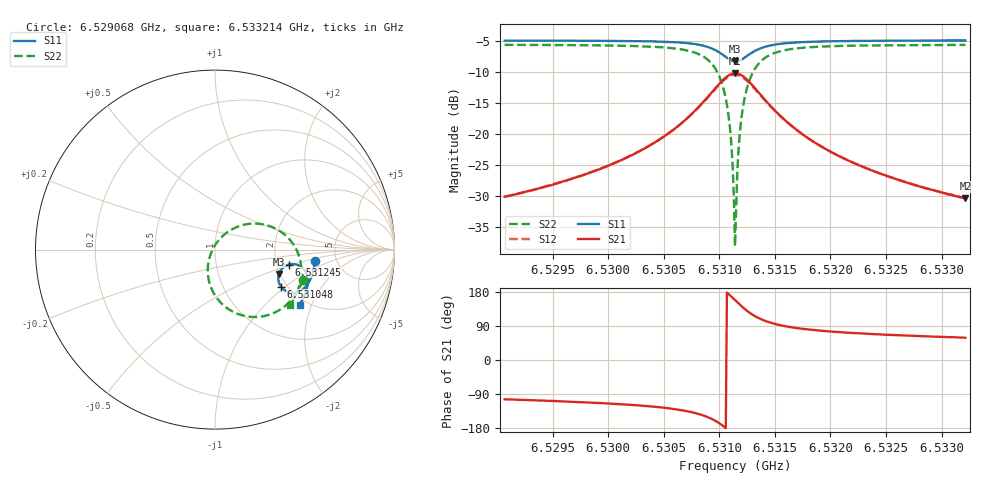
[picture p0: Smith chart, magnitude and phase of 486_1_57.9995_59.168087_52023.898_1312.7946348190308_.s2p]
#  HZ  S  RI  R  50.00
! Rohde & Schwarz Vector Network Analyzer
! Rohde-Schwarz,ZNB20-2Port,1311601062101988,3.16
! Created: UTC 3/21/2024, 1:12:04 AM
! freq[Hz]  re:S11  im:S11  re:S21  im:S21  re:S12  im:S12  re:S22  im:S22
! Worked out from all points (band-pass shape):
!   401 points, 6.529068 GHz to 6.533214 GHz, reference 50 ohm
!   highest |S21| = -10.28 dB at 6.531141 GHz (marker M1); lowest = -30.4 dB at 6.533214 GHz (marker M2)
!   |S21| within 3 dB of the highest: 6.530935 GHz to 6.53135 GHz (414.4 kHz wide, 0.00634 % of centre)
!   lowest |S11| = -8.4 dB at 6.531141 GHz (marker M3), VSWR 2.23, Z = 98.6 - j31.5 ohm
!   |S11| at or under -10 dB: nowhere
!   |S22| runs from -38.1 to -5.7 dB; largest |S21 - S12| = 0.012
!   S11 on the Smith chart (normalised r, x): 6.529068 GHz: 3.42, -0.65; 6.531048 GHz: 1.86, -0.93; 6.531245 GHz: 2.33, -0.47; 6.533214 GHz: 1.82, -1.64
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6.5290676e9  0.5571 -0.0646  -0.00729 -0.0301  -0.00798 -0.03  0.4906 -0.1684
6.5297622e9  0.5464 -0.1223  -0.0168 -0.0429  -0.0178 -0.0425  0.4599 -0.2328
6.5304568e9  0.5176 -0.1908  -0.0504 -0.0735  -0.0525 -0.072  0.3786 -0.3235
6.5306952e9  0.4904 -0.2204  -0.0902 -0.0926  -0.0928 -0.0896  0.2983 -0.3641
6.5308714e9  0.4467 -0.2393  -0.1579 -0.0988  -0.1603 -0.0925  0.1723 -0.3711
6.5309751e9  0.4021 -0.2336  -0.2273 -0.0721  -0.2265 -0.063  0.0546 -0.3163
6.5310477e9  0.3676 -0.2061  -0.278 -0.0139  -0.2725 -0.00405  -0.0226 -0.2096
6.5310891e9  0.3548 -0.1782  -0.2939 0.039  -0.2852 0.0467  -0.0404 -0.1193
6.5311099e9  0.3527 -0.1618  -0.2945 0.069  -0.2846 0.0752  -0.0364 -0.0699
6.5311202e9  0.3528 -0.1533  -0.2925 0.0841  -0.2823 0.0895  -0.0308 -0.045
6.5311306e9  0.3541 -0.1448  -0.289 0.0993  -0.2786 0.1037  -0.0226 -0.0208
6.531141e9  0.3562 -0.1365  -0.2841 0.1141  -0.2734 0.1175  -0.0121 0.00287
6.5311513e9  0.3591 -0.1285  -0.2777 0.1283  -0.2669 0.1308  0.000611 0.0252
6.5311617e9  0.3629 -0.1208  -0.2698 0.1418  -0.2592 0.1433  0.0156 0.0461
6.5311721e9  0.3674 -0.1137  -0.261 0.1545  -0.2505 0.1551  0.0322 0.0653
6.5311928e9  0.3785 -0.1012  -0.2399 0.1763  -0.2304 0.1752  0.0701 0.0977
6.5312446e9  0.4117 -0.083  -0.1795 0.2083  -0.1729 0.205  0.1752 0.1413
6.5313172e9  0.4547 -0.0836  -0.1039 0.2102  -0.1007 0.2069  0.3025 0.1318
6.5314209e9  0.4918 -0.1062  -0.0391 0.1786  -0.0378 0.177  0.4082 0.0647
6.5318355e9  0.5173 -0.1863  0.0161 0.086  0.0171 0.0858  0.4814 -0.1281
6.5325301e9  0.4978 -0.2575  0.0181 0.0411  0.0187 0.0409  0.4532 -0.2449
6.5332143e9  0.4709 -0.3083  0.0157 0.0257  0.0162 0.0256  0.4185 -0.3059
